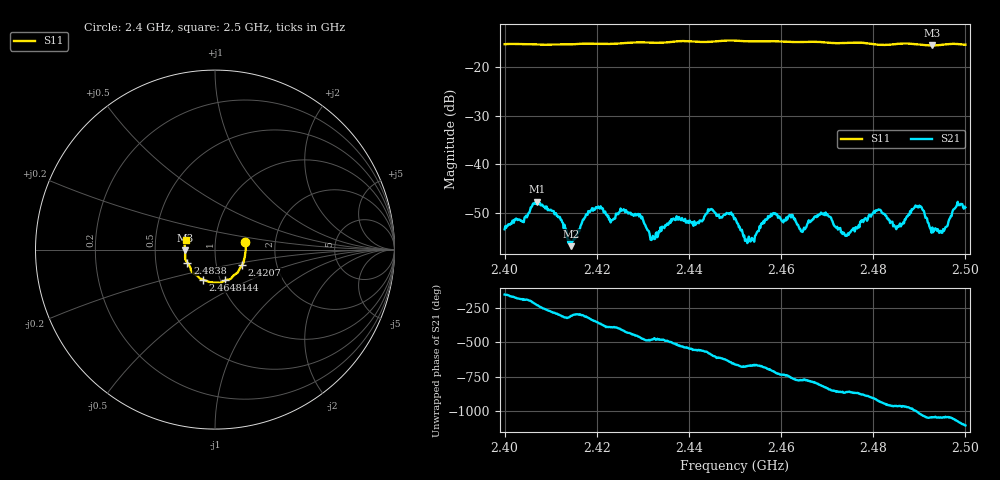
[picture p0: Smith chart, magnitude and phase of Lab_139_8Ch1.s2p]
# Hz S RI R
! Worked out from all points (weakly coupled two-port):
!   601 points, 2.4 GHz to 2.5 GHz, reference 50 ohm
!   highest |S21| = -47.64 dB at 2.407 GHz (marker M1); lowest = -56.8 dB at 2.4145 GHz (marker M2)
!   lowest |S11| = -15.6 dB at 2.4928 GHz (marker M3), VSWR 1.40, Z = 35.7 - j0.299 ohm
!   |S11| at or under -10 dB: start of sweep to end of sweep
!   S12 and S22 are empty: the file has one direction only
!   S11 on the Smith chart (normalised r, x): 2.4 GHz: 1.39, +0.12; 2.4207 GHz: 1.33, -0.23; 2.444 GHz: 1.05, -0.37; 2.4648 GHz: 0.83, -0.29; 2.4838 GHz: 0.73, -0.11; 2.5 GHz: 0.72, +0.08
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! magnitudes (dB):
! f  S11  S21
! 2.4 GHz  -15.3  -53.3
! 2.407 GHz  -15.4  -47.6
! 2.4115 GHz  -15.4  -50.6
! 2.4145 GHz  -15.3  -56.8
! 2.4167 GHz  -15.2  -52.3
! 2.4207 GHz  -15.2  -49.0
! 2.429 GHz  -14.9  -50.2
! 2.4333 GHz  -15.0  -54.4
! 2.444 GHz  -14.9  -50.0
! 2.45 GHz  -14.6  -51.0
! 2.453 GHz  -14.7  -54.8
! 2.4583 GHz  -14.7  -50.0
! 2.4648 GHz  -14.9  -53.4
! 2.4667 GHz  -14.8  -51.5
! 2.4698 GHz  -15.0  -50.4
! 2.4742 GHz  -15.0  -54.5
! 2.481 GHz  -15.4  -49.4
! 2.4833 GHz  -15.4  -51.4
! 2.4838 GHz  -15.4  -51.8
! 2.4897 GHz  -15.3  -48.8
! 2.4928 GHz  -15.6  -52.9
! 2.5 GHz  -15.4  -48.8
